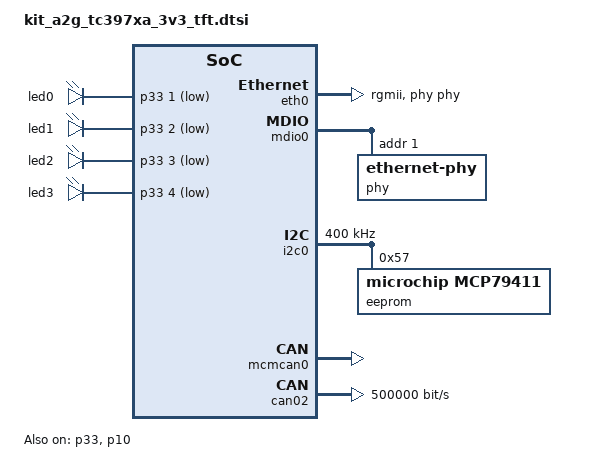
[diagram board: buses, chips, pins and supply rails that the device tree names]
/*
 * Copyright (c) 2024 Infineon Technologies AG
 *
 * SPDX-License-Identifier: Apache-2.0
 */
#include "kit_a2g_tc397xa_3v3_tft-pinctrl.dtsi"
#include <zephyr/dt-bindings/i2c/i2c.h>

/ {
	leds: leds {
		compatible = "gpio-leds";
		led0: led_0 {
			gpios = <&p33 1 GPIO_ACTIVE_LOW>;
		};
		led1: led_1 {
			gpios = <&p33 2 GPIO_ACTIVE_LOW>;
		};
		led2: led_2 {
			gpios = <&p33 3 GPIO_ACTIVE_LOW>;
		};
		led3: led_3 {
			gpios = <&p33 4 GPIO_ACTIVE_LOW>;
		};
	};

	aliases {
		led0 = &led0;
		led1 = &led1;
		led2 = &led2;
		led3 = &led3;
	};

	/* On-board TLE9251VSJ on M_CAN node 2 (P10.2/P10.3). No software
	 * enable/standby line, so no can-transceiver-gpio node is needed.
	 */
};

&fosc {
	clock-frequency = <DT_FREQ_M(20)>;
	status = "okay";
};

&p33 {
	status = "okay";
};

/* P10.2/P10.3 carry CAN module 0 node 2 (the on-board TLE9251VSJ
 * transceiver, IDC10 connector X202).  The port itself must be brought
 * out of reset for the alt-function pins to drive.
 */
&p10 {
	status = "okay";
};

&asclin0 {
	compatible = "infineon,asclin-uart";
	pinctrl-0 = <&uart0_default>;
	pinctrl-names = "default";
};

&eth0 {
	pinctrl-0 = <&eth0_rgmii_default>;
	pinctrl-names = "default";
	phy-connection-type = "rgmii";
	phy-handle = <&phy>;
};

&mdio0 {
	pinctrl-0 = <&eth0_mdio_default>;
	pinctrl-names = "default";

	phy: ethernet-phy@1 {
		compatible = "ethernet-phy";
		reg = <1>;
	};
};

&i2c0 {
	status = "okay";
	pinctrl-0 = <&i2c0_default>;
	pinctrl-names = "default";
	clock-frequency = <I2C_BITRATE_FAST>;

	/* MCP79411 EUI-48 EEPROM (0x57); RTCC at 0x6F (no Zephyr driver) */
	eeprom: eeprom@57 {
		compatible = "microchip,mcp79411", "atmel,at24";
		reg = <0x57>;
		size = <256>;
		pagesize = <8>;
		address-width = <8>;
		timeout = <5>;
	};
};

/* CAN module 0 node 2 - default board config */
&mcmcan0 {
	status = "okay";
};

&can02 {
	bitrate = <500000>;
	bitrate-data = <2000000>;
	pinctrl-0 = <&can0_default>;
	pinctrl-names = "default";
	status = "okay";
};
